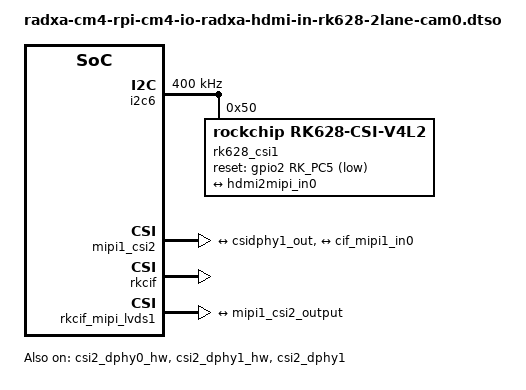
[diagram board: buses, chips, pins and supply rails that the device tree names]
/dts-v1/;
/plugin/;

#include <dt-bindings/gpio/gpio.h>
#include <dt-bindings/pinctrl/rockchip.h>
#include <dt-bindings/power/rockchip,rk3576-power.h>

/ {
	metadata {
		title = "Enable Radxa HDMI IN to MIPI CSI-2 Adapter on CAM0 2-lane CSI";
		compatible = "radxa,cm4-rpi-cm4-io";
		category = "camera";
		exclusive = "GPIO2_C5", "csi2_dphy1", "i2c6";
		description = "Enable Radxa HDMI IN to MIPI CSI-2 Adapter on the CAM0 2-lane CSI connector.
The 2-lane CSI connector does not support 4K input.
To capture audio, also enable the 'SAI2-M0 capture-only dummy sound card' overlay.
Enabling this overlay disables the carrier EEPROM.";
	};
};

&eeprom {
	status = "disabled";
};

&i2c6 {
	status = "okay";
	pinctrl-names = "default";
	pinctrl-0 = <&i2c6m3_xfer>;
	clock-frequency = <400000>;
	#address-cells = <1>;
	#size-cells = <0>;

	rk628_csi1: rk628-csi@50 {
		compatible = "rockchip,rk628-csi-v4l2";
		reg = <0x50>;
		power-domains = <&power RK3576_PD_VI>;
		pinctrl-names = "default";
		pinctrl-0 = <&rk628_cam0_reset>;
		/* INT and DET are not routed; the driver uses I2C polling. */
		reset-gpios = <&gpio2 RK_PC5 GPIO_ACTIVE_LOW>;
		continues-clk = <1>;
		rockchip,camera-module-index = <0>;
		rockchip,camera-module-facing = "back";
		rockchip,camera-module-name = "HDMI-MIPI1";
		rockchip,camera-module-lens-name = "RK628-CSI";

		port {
			hdmiin_out0: endpoint {
				remote-endpoint = <&hdmi2mipi_in0>;
				data-lanes = <1 2>;
			};
		};
	};
};

&csi2_dphy0_hw {
	status = "okay";
};

&csi2_dphy1_hw {
	status = "okay";
};

&csi2_dphy1 {
	status = "okay";

	ports {
		#address-cells = <1>;
		#size-cells = <0>;

		port@0 {
			reg = <0>;
			#address-cells = <1>;
			#size-cells = <0>;

			hdmi2mipi_in0: endpoint@1 {
				reg = <1>;
				remote-endpoint = <&hdmiin_out0>;
				data-lanes = <1 2>;
			};
		};

		port@1 {
			reg = <1>;
			#address-cells = <1>;
			#size-cells = <0>;

			csidphy1_out: endpoint@0 {
				reg = <0>;
				remote-endpoint = <&mipi1_csi2_input>;
			};
		};
	};
};

&mipi1_csi2 {
	status = "okay";

	ports {
		#address-cells = <1>;
		#size-cells = <0>;

		port@0 {
			reg = <0>;
			#address-cells = <1>;
			#size-cells = <0>;

			mipi1_csi2_input: endpoint@1 {
				reg = <1>;
				remote-endpoint = <&csidphy1_out>;
			};
		};

		port@1 {
			reg = <1>;
			#address-cells = <1>;
			#size-cells = <0>;

			mipi1_csi2_output: endpoint@0 {
				reg = <0>;
				remote-endpoint = <&cif_mipi1_in0>;
			};
		};
	};
};

&rkcif {
	status = "okay";
};

&rkcif_mipi_lvds1 {
	status = "okay";

	port {
		cif_mipi1_in0: endpoint {
			remote-endpoint = <&mipi1_csi2_output>;
		};
	};
};

&rkcif_mmu {
	status = "okay";
};

&pinctrl {
	hdmiin-cam0 {
		rk628_cam0_reset: rk628-cam0-reset {
			rockchip,pins = <2 RK_PC5 RK_FUNC_GPIO &pcfg_pull_none>;
		};
	};
};
